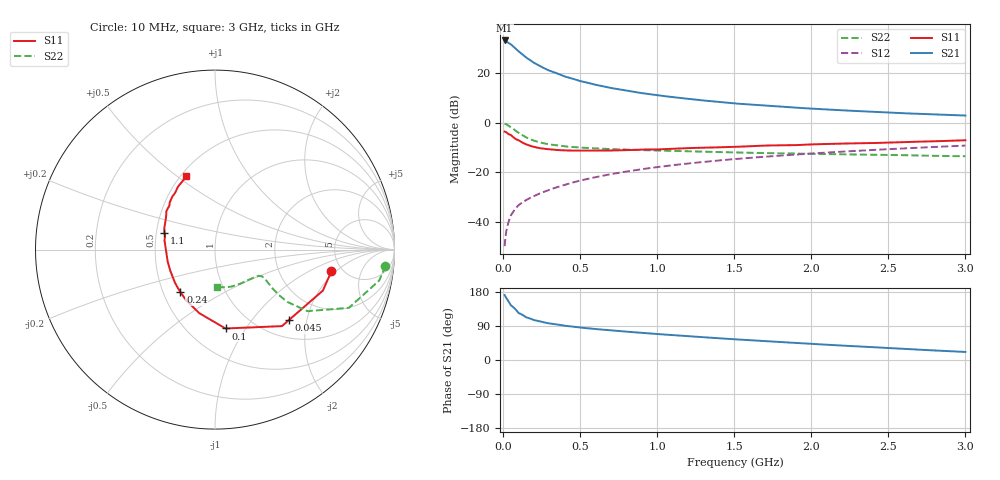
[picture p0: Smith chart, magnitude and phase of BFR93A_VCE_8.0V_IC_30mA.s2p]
! Infineon Technologies  Discrete & RF Semiconductors
! BFR93A
! VCE =  8.0 V,  IC =  30 mA
! Common Emitter S-Parameters:  Nov 2015
# GHz  S  MA  R  50
!  f  S11  S21  S12  S22
! GHz  MAG  ANG  MAG  ANG  MAG  ANG  MAG  ANG
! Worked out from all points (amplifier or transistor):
!   180 points, 10 MHz to 3 GHz, reference 50 ohm
!   highest |S21| = 33.2 dB at 10 MHz (marker M1)
!   |S21| within 3 dB of that: start of sweep to 75.48 MHz
!   unconditionally stable (mu >= 1): 380.7 MHz to 2.737 GHz
!   at 160 MHz: K = 0.75, MSG = 28.4 dB, |S12| = -30.9 dB
!   at 1.22 GHz: K = 1.08, MAG = 11.2 dB, |S12| = -16.4 dB
!   at 3 GHz: K = 0.98, MSG = 6.1 dB, |S12| = -9.3 dB
!   S11 on the Smith chart (normalised r, x): 10 MHz: 4.08, -1.75; 45 MHz: 1.35, -1.57; 100 MHz: 0.74, -0.81; 240 MHz: 0.61, -0.32; 1.1 GHz: 0.55, +0.12; 3 GHz: 0.53, +0.54
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0.01  0.6596 -10.6  45.69 171.4  0.0032 82.3  0.9543 -5.5
0.02  0.643 -20.8  44.43 164.0  0.0062 78.6  0.9308 -10.7
0.045  0.5689 -43.7  38.94 148.2  0.0121 71.6  0.8297 -21.1
0.05  0.5665 -48.8  38.26 144.6  0.0133 70.9  0.8133 -23.5
0.1  0.4434 -82.4  27.64 124.3  0.0215 64.5  0.6199 -33.6
0.15  0.3648 -103.9  20.59 112.6  0.0273 63.4  0.5007 -35.8
0.2  0.3247 -119.8  16.2 105.5  0.0329 65.2  0.4325 -35.4
0.24  0.3049 -129.3  13.86 101.4  0.0373 66.1  0.3987 -34.4
0.26  0.2985 -133.4  12.87 99.6  0.0395 66.6  0.3849 -33.9
0.3  0.2897 -140.3  11.23 96.5  0.0439 67.8  0.3635 -32.8
0.4  0.2754 -154.9  8.562 90.4  0.0554 69.4  0.3308 -30.9
0.5  0.2719 -165.7  6.922 85.5  0.0675 70.0  0.3134 -29.9
0.52  0.2713 -167.3  6.7 84.8  0.0698 70.1  0.3109 -29.9
0.6  0.2713 -173.9  5.821 81.7  0.0791 70.3  0.301 -29.7
0.7  0.2738 -179.7  5.017 78.0  0.0912 70.0  0.2925 -30.1
0.9  0.2864 169.4  3.947 71.7  0.1146 68.9  0.2784 -32.0
1.02  0.2895 164.2  3.512 68.0  0.1288 67.8  0.2732 -33.6
1.1  0.2971 161.3  3.276 65.7  0.1381 67.1  0.2688 -35.0
1.52  0.3256 147.0  2.421 54.2  0.1855 63.1  0.2496 -43.1
2.02  0.3653 133.4  1.905 42.2  0.2399 57.8  0.2341 -55.4
2.52  0.3982 122.3  1.588 31.2  0.2934 52.1  0.222 -69.6
3  0.4408 111.2  1.391 21.2  0.3443 46.6  0.2098 -87.0
